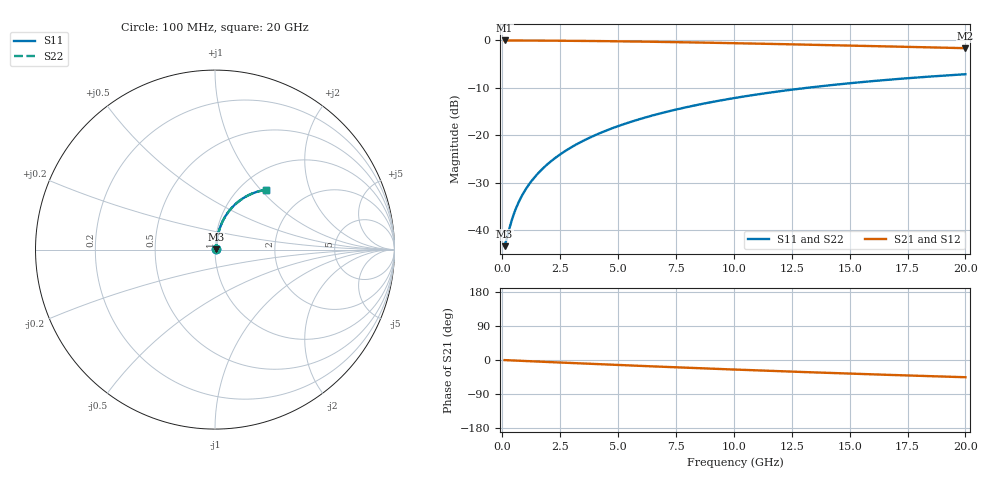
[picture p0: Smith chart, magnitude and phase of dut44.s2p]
! Touchstone file exported from HFSS 2024.1.0
!  File:  C:/UserFiles/LocalFiles/RDL_TSV_Batchsim/temp_RDL_bottom_44_1778692704.aedt
!  Generated:  01:20:54 AM May 14, 2026
!  Design:  RDL_bottom
!  Project:  temp_RDL_bottom_44_1778692704
!  Setup:  Setup1
!  Solution:  Sweep
! Variables:
!  dtsv = 10.80580581um
!  hbump = 3um
!  htsv = 85.36um
!  ldown = 638.38um
!  lrdl = 100um
!  p = 40
!  p1 = 42.18um
!  rhole = 1um
!  t = 450um
!  tdown = 2.3um
!  trdl = 3.915915916um
!  wdown = 16.31um
!  wrdl = 20um
# GHz S MA R 50.000000
! Terminal data exported
! Port[1] = RDL1_T1
! Port[2] = RDL1_T2
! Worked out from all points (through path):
!   200 points, 100 MHz to 20 GHz, reference 50 ohm
!   highest |S21| = -0.05 dB at 100 MHz (marker M1); lowest = -1.7 dB at 20 GHz (marker M2)
!   group delay of S21, straight-line fit = 6.31 ps
!   lowest |S11| = -43.4 dB at 100 MHz (marker M3), VSWR 1.01, Z = 50.6 + j0.271 ohm
!   |S11| at or under -10 dB: start of sweep to 13.23 GHz
!   |S22| runs from -43.4 to -7.2 dB; largest |S21 - S12| = 2.3e-15
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0.1  0.006744 23.4  0.9938 -0.3  0.9938 -0.3  0.006744 23.4
! Gamma 0 0 0 0
! Port Impedance 50 0 50 0
0.4  0.01245 57.6  0.9933 -1.1  0.9933 -1.1  0.01245 57.6
0.5  0.01476 62.1  0.9931 -1.4  0.9931 -1.4  0.01476 62.1
0.6  0.01709 65.3  0.9929 -1.7  0.9929 -1.7  0.01709 65.3
0.7  0.01945 67.7  0.9926 -1.9  0.9926 -1.9  0.01945 67.7
0.9  0.02417 71.0  0.9921 -2.5  0.9921 -2.5  0.02417 71.0
1.2  0.03128 74.1  0.9914 -3.2  0.9914 -3.2  0.03128 74.1
1.4  0.03605 75.4  0.9909 -3.8  0.9909 -3.8  0.03605 75.4
1.7  0.04324 76.8  0.99 -4.6  0.99 -4.6  0.04324 76.8
2.2  0.05532 78.0  0.9884 -5.9  0.9884 -5.9  0.05532 78.0
2.8  0.06995 78.6  0.9861 -7.5  0.9861 -7.5  0.06995 78.6
3.5  0.08713 78.6  0.9828 -9.3  0.9828 -9.3  0.08714 78.6
4.2  0.1044 78.1  0.9789 -11.1  0.9789 -11.1  0.1044 78.1
5  0.1242 77.2  0.9738 -13.1  0.9738 -13.1  0.1242 77.2
5.9  0.1465 76.0  0.9674 -15.4  0.9674 -15.4  0.1465 76.0
6.8  0.1686 74.5  0.9602 -17.6  0.9602 -17.6  0.1686 74.5
8.4  0.2075 71.7  0.946 -21.4  0.946 -21.4  0.2075 71.7
10.1  0.2475 68.4  0.9295 -25.4  0.9295 -25.4  0.2475 68.4
11.7  0.2836 65.3  0.9131 -28.9  0.9131 -28.9  0.2836 65.3
13.4  0.3198 61.9  0.895 -32.6  0.895 -32.6  0.3198 61.9
16.7  0.3834 55.5  0.8592 -39.3  0.8592 -39.3  0.3834 55.5
20  0.4377 49.5  0.8241 -45.5  0.8241 -45.5  0.4378 49.5
